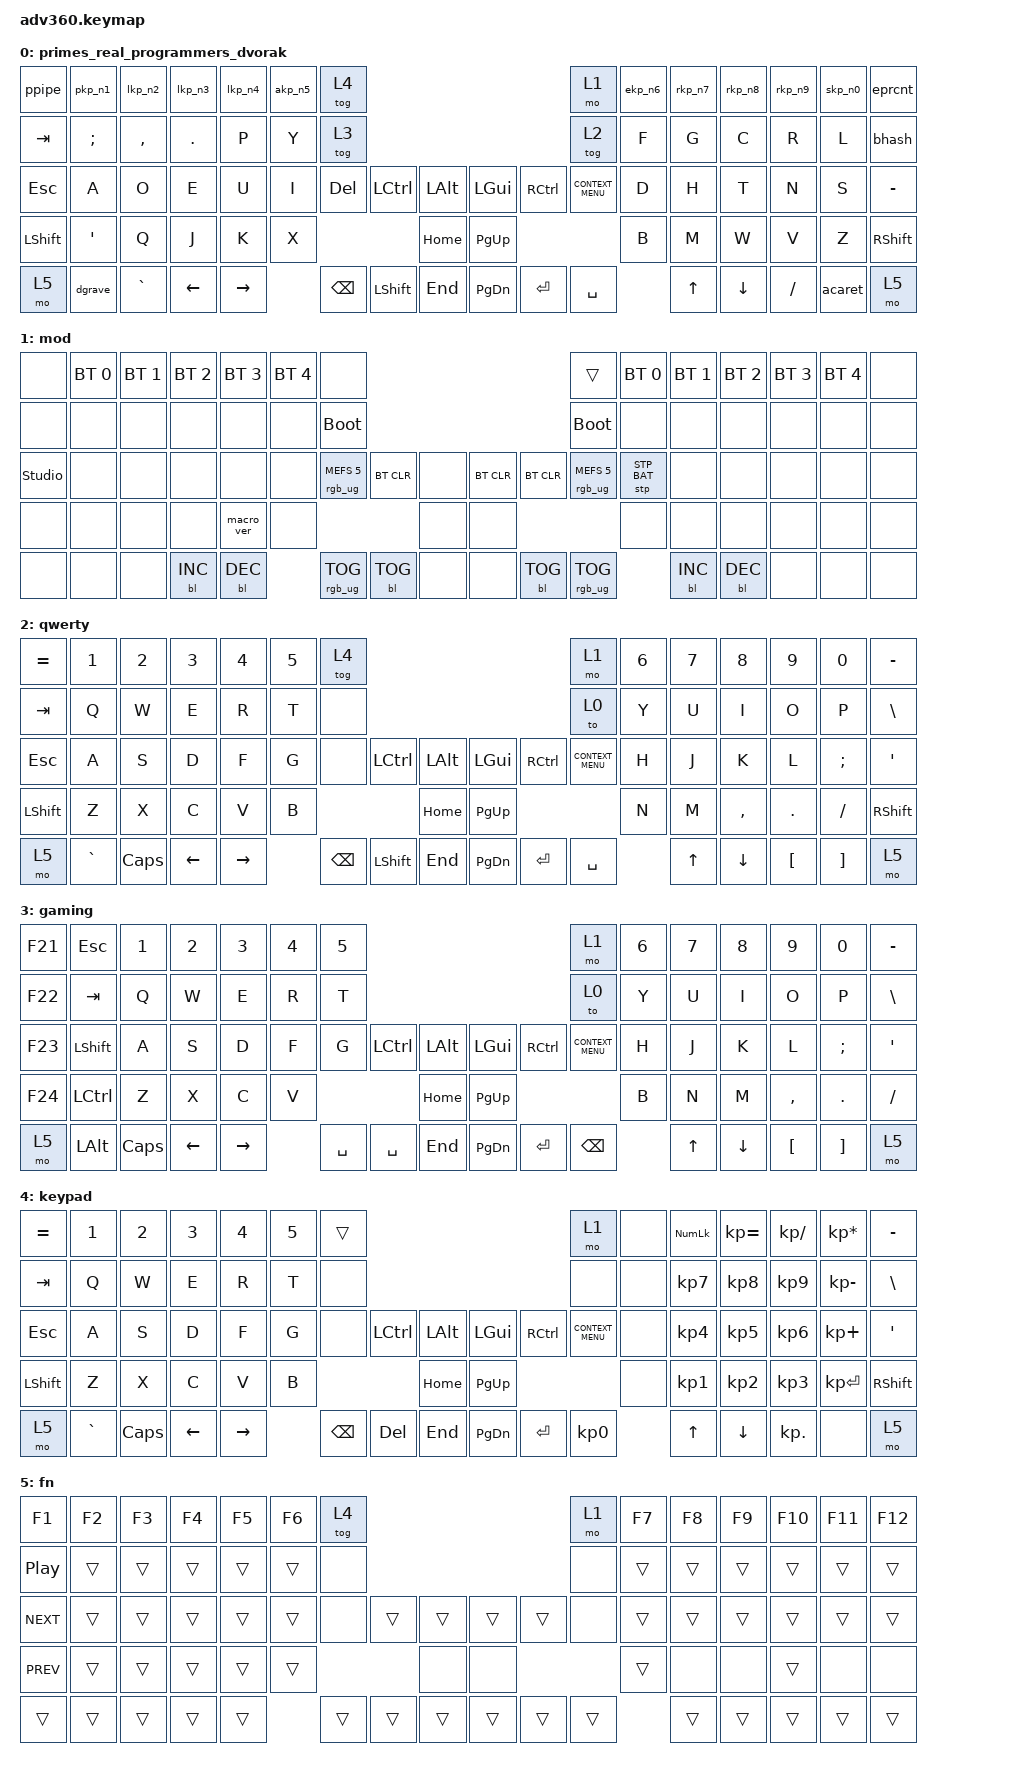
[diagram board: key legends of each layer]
/*
 * Copyright (c) 2020 The ZMK Contributors
 *
 * SPDX-License-Identifier: MIT
 */
/* THIS FILE WAS GENERATED!
 *
 * This file was generated automatically. You may or may not want to
 * edit it directly.
 */

#define dvorak 0
#define mod 1
#define qwerty 2
#define gaming 3
#define keypad 4
#define fn 5

#include <behaviors.dtsi>
#include <dt-bindings/zmk/keys.h>
#include <dt-bindings/zmk/bt.h>
#include <dt-bindings/zmk/rgb.h>
#include <dt-bindings/zmk/stp.h>
#include <dt-bindings/zmk/backlight.h>
#include <dt-bindings/zmk/pointing.h>

/ {
    behaviors {
        #include "macros.dtsi"
        #include "version.dtsi"

        #ifndef VERSION_MACRO

        macro_ver: macro_ver {
            compatible = "zmk,behavior-macro";
            label = "macro_version";
            #binding-cells = <0>;
            bindings = <&kp RET>;
        };

        #endif

        hm: homerow_mods {
            compatible = "zmk,behavior-hold-tap";
            label = "HOMEROW_MODS";
            #binding-cells = <2>;
            tapping-term-ms = <200>;
            quick_tap_ms = <175>;
            flavor = "tap-preferred";
            bindings = <&kp>, <&kp>;
        };

        gpipe: grave_pipe {
            compatible = "zmk,behavior-mod-morph";
            label = "grave_pipe";
            #binding-cells = <0>;
            bindings = <&kp GRAVE>, <&kp PIPE>;

            mods = <(MOD_LGUI|MOD_LSFT|MOD_RGUI|MOD_RSFT)>;
        };

        ppipe: pipe_pipe {
            compatible = "zmk,behavior-mod-morph";
            label = "pipe_pipe";
            #binding-cells = <0>;
            bindings = <&kp PIPE>, <&kp PIPE>;

            mods = <(MOD_LGUI|MOD_LSFT|MOD_RGUI|MOD_RSFT)>;
        };

        pkp_n1: plus_kp_n1 {
            compatible = "zmk,behavior-mod-morph";
            label = "plus_kp_n1";
            #binding-cells = <0>;
            bindings = <&kp PLUS>, <&kp N1>;

            mods = <(MOD_LSFT)>;
        };

        lkp_n2: left_bracket_kp_n2 {
            compatible = "zmk,behavior-mod-morph";
            label = "left_bracket_kp_n2";
            #binding-cells = <0>;
            bindings = <&kp LEFT_BRACKET>, <&kp N2>;

            mods = <(MOD_LSFT)>;
        };

        lkp_n3: left_brace_kp_n3 {
            compatible = "zmk,behavior-mod-morph";
            label = "left_brace_kp_n3";
            #binding-cells = <0>;
            bindings = <&kp LEFT_BRACE>, <&kp N3>;

            mods = <(MOD_LSFT)>;
        };

        lkp_n4: left_parenthesis_kp_n4 {
            compatible = "zmk,behavior-mod-morph";
            label = "left_parenthesis_kp_n4";
            #binding-cells = <0>;
            bindings = <&kp LEFT_PARENTHESIS>, <&kp N4>;

            mods = <(MOD_LSFT)>;
        };

        akp_n5: amps_kp_n5 {
            compatible = "zmk,behavior-mod-morph";
            label = "amps_kp_n5";
            #binding-cells = <0>;
            bindings = <&kp AMPS>, <&kp N5>;

            mods = <(MOD_LSFT)>;
        };

        ekp_n6: equal_kp_n6 {
            compatible = "zmk,behavior-mod-morph";
            label = "equal_kp_n6";
            #binding-cells = <0>;
            bindings = <&kp EQUAL>, <&kp N6>;

            mods = <(MOD_LSFT)>;
        };

        rkp_n7: right_parenthesis_kp_n7 {
            compatible = "zmk,behavior-mod-morph";
            label = "right_parenthesis_kp_n7";
            #binding-cells = <0>;
            bindings = <&kp RIGHT_PARENTHESIS>, <&kp N7>;

            mods = <(MOD_LSFT)>;
        };

        rkp_n8: right_brace_kp_n8 {
            compatible = "zmk,behavior-mod-morph";
            label = "right_brace_kp_n8";
            #binding-cells = <0>;
            bindings = <&kp RIGHT_BRACE>, <&kp N8>;

            mods = <(MOD_LSFT)>;
        };

        rkp_n9: right_bracket_kp_n9 {
            compatible = "zmk,behavior-mod-morph";
            label = "right_bracket_kp_n9";
            #binding-cells = <0>;
            bindings = <&kp RIGHT_BRACKET>, <&kp N9>;

            mods = <(MOD_LSFT)>;
        };

        skp_n0: star_kp_n0 {
            compatible = "zmk,behavior-mod-morph";
            label = "star_kp_n0";
            #binding-cells = <0>;
            bindings = <&kp STAR>, <&kp N0>;

            mods = <(MOD_LSFT)>;
        };

        eprcnt: excl_prcnt {
            compatible = "zmk,behavior-mod-morph";
            label = "excl_prcnt";
            #binding-cells = <0>;
            bindings = <&kp EXCL>, <&kp PRCNT>;

            mods = <(MOD_LGUI|MOD_LSFT|MOD_RGUI|MOD_RSFT)>;
        };

        dgrave: dllr_grave {
            compatible = "zmk,behavior-mod-morph";
            label = "dllr_grave";
            #binding-cells = <0>;
            bindings = <&kp DLLR>, <&kp GRAVE>;

            mods = <(MOD_LGUI|MOD_LSFT|MOD_RGUI|MOD_RSFT)>;
        };

        ggrave: grave_grave {
            compatible = "zmk,behavior-mod-morph";
            label = "grave_grave";
            #binding-cells = <0>;
            bindings = <&kp GRAVE>, <&kp GRAVE>;

            mods = <(MOD_LGUI|MOD_LSFT|MOD_RGUI|MOD_RSFT)>;
        };

        bhash: bslh_hash {
            compatible = "zmk,behavior-mod-morph";
            label = "bslh_hash";
            #binding-cells = <0>;
            bindings = <&kp BSLH>, <&kp HASH>;

            mods = <(MOD_LGUI|MOD_LSFT|MOD_RGUI|MOD_RSFT)>;
        };

        acaret: at_caret {
            compatible = "zmk,behavior-mod-morph";
            label = "at_caret";
            #binding-cells = <0>;
            bindings = <&kp AT>, <&kp CARET>;

            mods = <(MOD_LGUI|MOD_LSFT|MOD_RGUI|MOD_RSFT)>;
        };
    };

    macros {
    };

    keymap {
        compatible = "zmk,keymap";

        primes_real_programmers_dvorak {
            bindings = <
&ppipe     &pkp_n1   &lkp_n2    &lkp_n3   &lkp_n4    &akp_n5  &tog 4                                                             &mo 1               &ekp_n6  &rkp_n7  &rkp_n8   &rkp_n9    &skp_n0  &eprcnt
&kp TAB    &kp SEMI  &kp COMMA  &kp DOT   &kp P      &kp Y    &tog 3                                                             &tog 2              &kp F    &kp G    &kp C     &kp R      &kp L    &bhash
&kp ESC    &kp A     &kp O      &kp E     &kp U      &kp I    &kp DEL        &kp LCTRL       &kp LALT      &kp LGUI   &kp RCTRL  &kp K_CONTEXT_MENU  &kp D    &kp H    &kp T     &kp N      &kp S    &kp MINUS
&kp LSHFT  &kp APOS  &kp Q      &kp J     &kp K      &kp X                                   &kp HOME      &kp PG_UP                                 &kp B    &kp M    &kp W     &kp V      &kp Z    &kp RIGHT_SHIFT
&mo 5      &dgrave   &kp GRAVE  &kp LEFT  &kp RIGHT           &kp BACKSPACE  &kp LEFT_SHIFT  &kp END       &kp PG_DN  &kp RET    &kp SPACE                    &kp UP   &kp DOWN  &kp SLASH  &acaret  &mo 5
            >;
        };

        mod {
            bindings = <
&none  &bt BT_SEL 0  &bt BT_SEL 1  &bt BT_SEL 2  &bt BT_SEL 3     &bt BT_SEL 4                   &none       &trans  &bt BT_SEL 0  &bt BT_SEL 1     &bt BT_SEL 2  &bt BT_SEL 3  &bt BT_SEL 4                   &none
&none         &none         &none         &none         &none            &none             &bootloader  &bootloader         &none         &none            &none         &none         &none                   &none
&studio_unlock  &none         &none         &none         &none            &none  &rgb_ug RGB_MEFS_CMD 5   &bt BT_CLR         &none                                   &bt BT_CLR    &bt BT_CLR  &rgb_ug RGB_MEFS_CMD 5  &stp STP_BAT  &none  &none  &none  &none  &none
&none         &none         &none         &none         &macro_ver       &none                                      &none        &none                                                        &none        &none        &none        &none        &none        &none
&none         &none         &none    &bl BL_INC    &bl BL_DEC  &rgb_ug RGB_TOG              &bl BL_TOG        &none         &none    &bl BL_TOG  &rgb_ug RGB_TOG    &bl BL_INC    &bl BL_DEC                   &none  &none  &none
            >;
        };

        qwerty {
            bindings = <
&kp EQUAL  &kp N1     &kp N2        &kp N3    &kp N4     &kp N5  &tog 4                                                         &mo 1               &kp N6  &kp N7        &kp N8     &kp N9            &kp N0             &kp MINUS
&kp TAB    &kp Q      &kp W         &kp E     &kp R      &kp T   &none                                                          &to 0               &kp Y   &kp U         &kp I      &kp O             &kp P              &kp BSLH
&kp ESC    &kp A      &kp S         &kp D     &kp F      &kp G   &none          &kp LCTRL   &kp LALT      &kp LGUI   &kp RCTRL  &kp K_CONTEXT_MENU  &kp H   &kp J         &kp K      &kp L             &kp SEMI           &kp SQT
&kp LSHFT  &kp Z      &kp X         &kp C     &kp V      &kp B                              &kp HOME      &kp PG_UP                                 &kp N   &kp M         &kp COMMA  &kp PERIOD        &kp SLASH          &kp RIGHT_SHIFT
&mo 5      &kp GRAVE  &kp CAPSLOCK  &kp LEFT  &kp RIGHT          &kp BACKSPACE  &kp LSHIFT  &kp END       &kp PG_DN  &kp RET    &kp SPACE                   &kp UP_ARROW  &kp DOWN   &kp LEFT_BRACKET  &kp RIGHT_BRACKET  &mo 5
            >;
        };

        gaming {
            bindings = <
&kp F21  &kp ESC       &kp N1    &kp N2    &kp N3     &kp N4  &kp N5                                                    &mo 1               &kp N6  &kp N7  &kp N8    &kp N9            &kp N0             &kp MINUS
&kp F22  &kp TAB       &kp Q     &kp W     &kp E      &kp R   &kp T                                                     &to 0               &kp Y   &kp U   &kp I     &kp O             &kp P              &kp BSLH
&kp F23  &kp LSHFT     &kp A     &kp S     &kp D      &kp F   &kp G      &kp LCTRL  &kp LALT      &kp LGUI   &kp RCTRL  &kp K_CONTEXT_MENU  &kp H   &kp J   &kp K     &kp L             &kp SEMI           &kp SQT
&kp F24  &kp LCTRL     &kp Z     &kp X     &kp C      &kp V                         &kp HOME      &kp PG_UP                                 &kp B   &kp N   &kp M     &kp COMMA         &kp PERIOD         &kp SLASH
&mo 5    &kp LEFT_ALT  &kp CAPS  &kp LEFT  &kp RIGHT          &kp SPACE  &kp SPACE  &kp END       &kp PG_DN  &kp RET    &kp BACKSPACE               &kp UP  &kp DOWN  &kp LEFT_BRACKET  &kp RIGHT_BRACKET  &mo 5
            >;
        };

        keypad {
            bindings = <
&kp EQUAL  &kp N1     &kp N2    &kp N3    &kp N4     &kp N5  &trans                                                        &mo 1               &none  &kp KP_NUM  &kp KP_EQUAL  &kp KP_DIVIDE  &kp KP_MULTIPLY  &kp MINUS
&kp TAB    &kp Q      &kp W     &kp E     &kp R      &kp T   &none                                                         &none               &none  &kp KP_N7   &kp KP_N8     &kp KP_N9      &kp KP_MINUS     &kp BSLH
&kp ESC    &kp A      &kp S     &kp D     &kp F      &kp G   &none          &kp LCTRL  &kp LALT      &kp LGUI   &kp RCTRL  &kp K_CONTEXT_MENU  &none  &kp KP_N4   &kp KP_N5     &kp KP_N6      &kp KP_PLUS      &kp SQT
&kp LSHFT  &kp Z      &kp X     &kp C     &kp V      &kp B                             &kp HOME      &kp PG_UP                                 &none  &kp KP_N1   &kp KP_N2     &kp KP_N3      &kp KP_ENTER     &kp RIGHT_SHIFT
&mo 5      &kp GRAVE  &kp CAPS  &kp LEFT  &kp RIGHT          &kp BACKSPACE  &kp DEL    &kp END       &kp PG_DN  &kp ENTER  &kp KP_N0                  &kp UP      &kp DOWN      &kp KP_DOT     &none            &mo 5
            >;
        };

        fn {
            bindings = <
&kp F1            &kp F2  &kp F3  &kp F4  &kp F5  &kp F6  &tog 4                                      &mo 1   &kp F7  &kp F8  &kp F9  &kp F10  &kp F11  &kp F12
&kp C_PLAY_PAUSE  &trans  &trans  &trans  &trans  &trans  &none                                       &none   &trans  &trans  &trans  &trans   &trans   &trans
&kp C_NEXT        &trans  &trans  &trans  &trans  &trans  &none   &trans  &trans      &trans  &trans  &none   &trans  &trans  &trans  &trans   &trans   &trans
&kp C_PREV        &trans  &trans  &trans  &trans  &trans                  &none       &none                   &trans  &none   &none   &trans   &none    &none
&trans            &trans  &trans  &trans  &trans          &trans  &trans  &trans      &trans  &trans  &trans          &trans  &trans  &trans   &trans   &trans
            >;
        };

        extra1 {
            display-name = "Red";
            status = "reserved";
        };

        extra2 {
            display-name = "Purple";
            status = "reserved";
        };

        extra3 {
            display-name = "Cyan";
            status = "reserved";
        };

        extra4 {
            display-name = "Yellow";
            status = "reserved";
        };
    };
};
